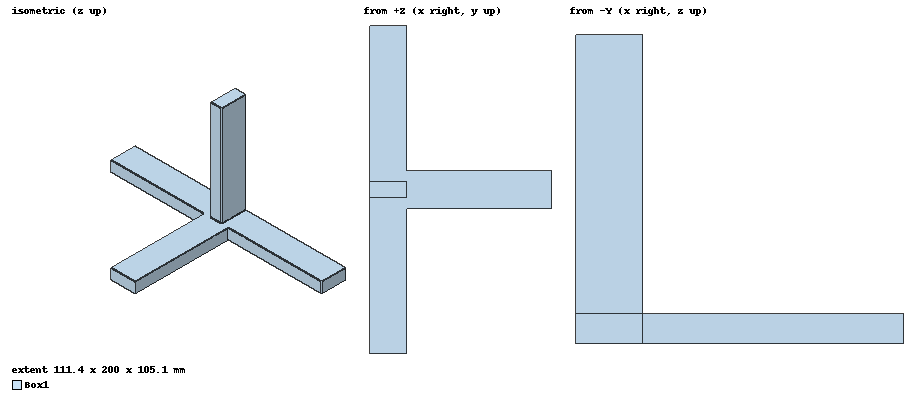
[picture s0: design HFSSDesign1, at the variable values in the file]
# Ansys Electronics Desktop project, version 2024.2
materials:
  vacuum: permittivity=1
  air: permittivity=1.0006 permeability=1.0000004

design HFSSDesign1 (HFSS, HFSS Terminal Network, model units mm)
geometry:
  Box1 [air] = box(corner=(-11.43mm, 0mm, -5.08mm), size=(22.86mm, 100mm, 10.16mm))
  Box1.rotate(axis=Z, angle=180deg)
  Box1_1 = Box1.duplicate_around_axis(axis=X, angle=-90deg, total=2)
  Box1_1_1 = Box1_1.duplicate_around_axis(axis=X, angle=-90deg, total=2)
  Box1_2 = Box1.duplicate_around_axis(axis=Z, angle=90deg, total=2)
  Box1.unite(Box1_1, Box1_1_1, Box1_2)
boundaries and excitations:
  1: Wave Port Faces=Box1.face(at (100, 0, 0)) WavePortType=Modal NumModes=1 Modes{Mode1{IntLine{(100000mm, 0mm, -5000mm) -> (100, 0, 5.08)} CharImp=Zpi}}
  2: Wave Port Faces=Box1.face(at (0, 100, 0)) WavePortType=Modal NumModes=1 Modes{Mode1{IntLine{(0mm, 100000mm, -5000mm) -> (0mm, 100000mm, 5000mm)} CharImp=Zpi}}
  3: Wave Port Faces=Box1.face(at (0, -100, 0)) WavePortType=Modal NumModes=1 Modes{Mode1{IntLine{(0mm, -100000mm, -5000mm) -> (0, -100, 5.08)} CharImp=Zpi}}
  4: Wave Port Faces=Box1.face(at (0, 0, 100)) WavePortType=Modal NumModes=1 Modes{Mode1{IntLine{(0, 5.08, 100) -> (0, -5.08, 100)} CharImp=Zpi}}
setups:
  Setup1: HfssDriven Frequency=10GHz MaxDeltaS=0.02 MaximumPasses=6 MinimumPasses=1 MinimumConvergedPasses=1 PercentRefinement=30 BasisOrder=1 PortAccuracy=2 DrivenSolverType="Direct Solver"
    sweep Sweep: 6GHz to 15GHz step 0.1GHz; Type=Interpolating InterpTolerance=0.5 InterpMaxSolns=250 PassivityErrorTolerance=0.0001
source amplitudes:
  1:1: 1V 0deg
  2:1, 3:1, 4:1: 0V 0deg
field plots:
  Mag_E1: E Field in Box1 on Setup1 : LastAdaptive at Freq=10GHz Phase=0deg
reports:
  S Parameter Plot 1: dB(S(1,1)), dB(S(2,1)), dB(S(4,1)), dB(S(2,2)), dB(S(2,3)), dB(S(3,3)), dB(S(1,4)), dB(S(4,4)) vs Freq on Setup1 : Sweep
